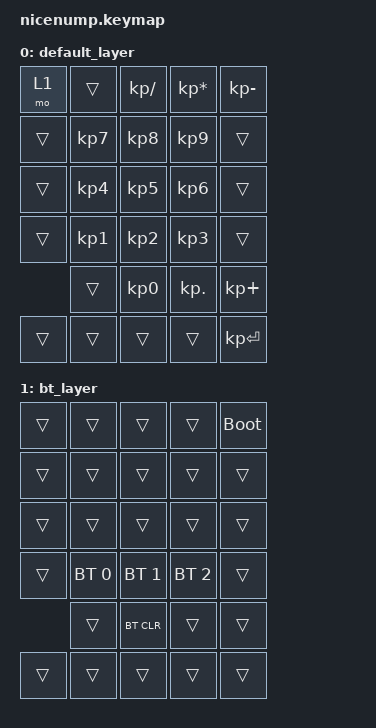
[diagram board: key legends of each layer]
#include <behaviors.dtsi>
#include <dt-bindings/zmk/keys.h>
#include <dt-bindings/zmk/bt.h>

/ {  
    keymap {
        compatible = "zmk,keymap";

        default_layer {
            bindings = <
                &mo 1      &trans           &kp KP_SLASH    &kp KP_ASTERISK     &kp KP_MINUS      
                &trans     &kp KP_N7        &kp KP_N8       &kp KP_N9           &trans                  
                &trans     &kp KP_N4        &kp KP_N5       &kp KP_N6           &trans                 
                &trans     &kp KP_N1        &kp KP_N2       &kp KP_N3           &trans
                           &trans           &kp KP_N0       &kp KP_DOT          &kp KP_PLUS
                &trans     &trans           &trans          &trans              &kp KP_ENTER
            >;
        }; 
        
        bt_layer {
            bindings = <
                &trans     &trans           &trans          &trans              &bootloader      
                &trans     &trans           &trans          &trans              &trans                  
                &trans     &trans           &trans          &trans              &trans
                &trans     &bt BT_SEL 0     &bt BT_SEL 1    &bt BT_SEL 2        &trans                  
                           &trans           &bt BT_CLR      &trans              &trans
                &trans     &trans           &trans          &trans              &trans
            >;
        };
    };
};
